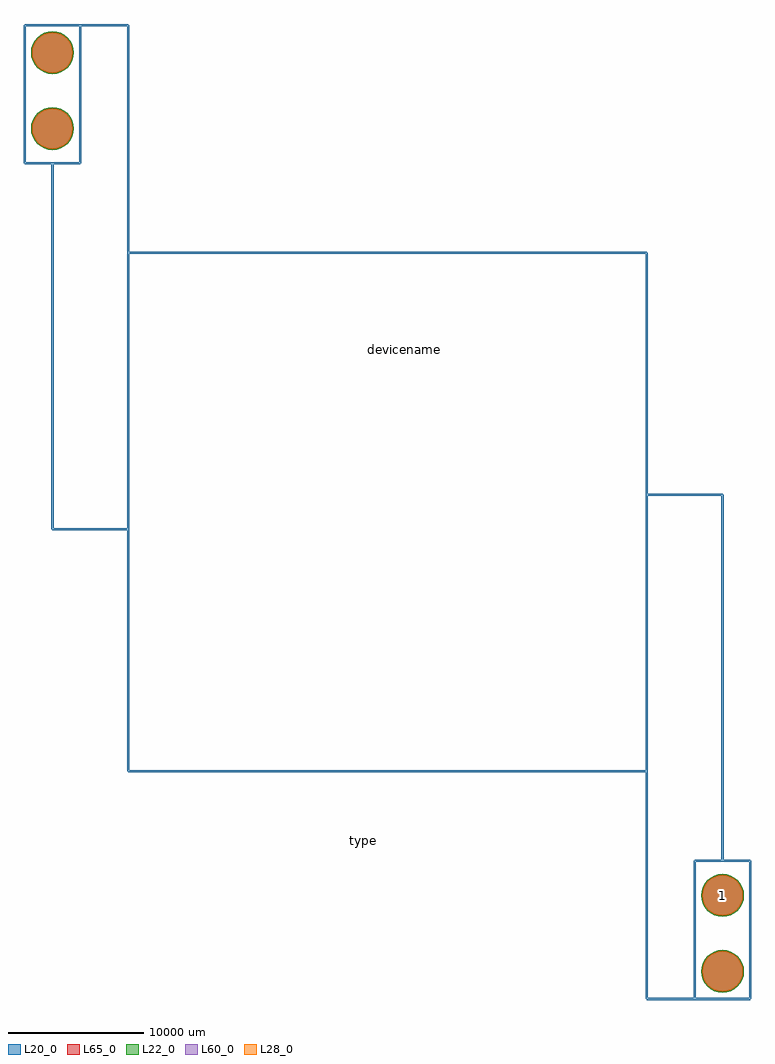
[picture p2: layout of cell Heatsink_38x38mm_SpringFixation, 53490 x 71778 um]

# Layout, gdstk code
import gdstk
lib = gdstk.Library(unit=1e-6, precision=1e-09)
def P(c, l, *ps):  # polygons
    for p in ps: c.add(gdstk.Polygon(p, *l))
L20_0 = (20, 0)
L22_0 = (22, 0)
L28_0 = (28, 0)
L60_0 = (60, 0)
L65_0 = (65, 0)

heatsink_38x38mm_springf = lib.new_cell('Heatsink_38x38mm_SpringFixation')
P(heatsink_38x38mm_springf, L22_0, [(45262.87,-14732),(45232.609,-14424.758),(45142.99,-14129.323),(44997.457,-13857.049),(44801.601,-13618.399),(44562.951,-13422.543),(44290.677,-13277.01),(43995.242,-13187.391),(43688,-13157.13),(43380.758,-13187.391),(43085.323,-13277.01),(42813.049,-13422.543),(42574.399,-13618.399),(42378.543,-13857.049),(42233.01,-14129.323),(42143.391,-14424.758),(42113.13,-14732),(42143.391,-15039.242),(42233.01,-15334.677),(42378.543,-15606.951),(42574.399,-15845.601),(42813.049,-16041.457),(43085.323,-16186.99),(43380.758,-16276.609),(43688,-16306.87),(43995.242,-16276.609),(44290.677,-16186.99),(44562.951,-16041.457),(44801.601,-15845.601),(44997.457,-15606.951),(45142.99,-15334.677),(45232.609,-15039.242)],
  [(-4013.13,52832),(-4043.391,53139.242),(-4133.01,53434.677),(-4278.543,53706.951),(-4474.399,53945.601),(-4713.049,54141.457),(-4985.323,54286.99),(-5280.758,54376.609),(-5588,54406.87),(-5895.242,54376.609),(-6190.677,54286.99),(-6462.951,54141.457),(-6701.601,53945.601),(-6897.457,53706.951),(-7042.99,53434.677),(-7132.609,53139.242),(-7162.87,52832),(-7132.609,52524.758),(-7042.99,52229.323),(-6897.457,51957.049),(-6701.601,51718.399),(-6462.951,51522.543),(-6190.677,51377.01),(-5895.242,51287.391),(-5588,51257.13),(-5280.758,51287.391),(-4985.323,51377.01),(-4713.049,51522.543),(-4474.399,51718.399),(-4278.543,51957.049),(-4133.01,52229.323),(-4043.391,52524.758)],
  [(-4013.13,47244),(-4043.391,47551.242),(-4133.01,47846.677),(-4278.543,48118.951),(-4474.399,48357.601),(-4713.049,48553.457),(-4985.323,48698.99),(-5280.758,48788.609),(-5588,48818.87),(-5895.242,48788.609),(-6190.677,48698.99),(-6462.951,48553.457),(-6701.601,48357.601),(-6897.457,48118.951),(-7042.99,47846.677),(-7132.609,47551.242),(-7162.87,47244),(-7132.609,46936.758),(-7042.99,46641.323),(-6897.457,46369.049),(-6701.601,46130.399),(-6462.951,45934.543),(-6190.677,45789.01),(-5895.242,45699.391),(-5588,45669.13),(-5280.758,45699.391),(-4985.323,45789.01),(-4713.049,45934.543),(-4474.399,46130.399),(-4278.543,46369.049),(-4133.01,46641.323),(-4043.391,46936.758)],
  [(45262.87,-9144),(45232.609,-8836.758),(45142.99,-8541.323),(44997.457,-8269.049),(44801.601,-8030.399),(44562.951,-7834.543),(44290.677,-7689.01),(43995.242,-7599.391),(43688,-7569.13),(43380.758,-7599.391),(43085.323,-7689.01),(42813.049,-7834.543),(42574.399,-8030.399),(42378.543,-8269.049),(42233.01,-8541.323),(42143.391,-8836.758),(42113.13,-9144),(42143.391,-9451.242),(42233.01,-9746.677),(42378.543,-10018.951),(42574.399,-10257.601),(42813.049,-10453.457),(43085.323,-10598.99),(43380.758,-10688.609),(43688,-10718.87),(43995.242,-10688.609),(44290.677,-10598.99),(44562.951,-10453.457),(44801.601,-10257.601),(44997.457,-10018.951),(45142.99,-9746.677),(45232.609,-9451.242)])
P(heatsink_38x38mm_springf, L28_0, [(45187.87,-14732),(45159.05,-14439.39),(45073.699,-14158.025),(44935.096,-13898.717),(44748.568,-13671.432),(44521.283,-13484.904),(44261.975,-13346.301),(43980.61,-13260.95),(43688,-13232.13),(43395.39,-13260.95),(43114.025,-13346.301),(42854.717,-13484.904),(42627.432,-13671.432),(42440.904,-13898.717),(42302.301,-14158.025),(42216.95,-14439.39),(42188.13,-14732),(42216.95,-15024.61),(42302.301,-15305.975),(42440.904,-15565.283),(42627.432,-15792.568),(42854.717,-15979.096),(43114.025,-16117.699),(43395.39,-16203.05),(43688,-16231.87),(43980.61,-16203.05),(44261.975,-16117.699),(44521.283,-15979.096),(44748.568,-15792.568),(44935.096,-15565.283),(45073.699,-15305.975),(45159.05,-15024.61)],
  [(-4088.13,52832),(-4116.95,53124.61),(-4202.301,53405.975),(-4340.904,53665.283),(-4527.432,53892.568),(-4754.717,54079.096),(-5014.025,54217.699),(-5295.39,54303.05),(-5588,54331.87),(-5880.61,54303.05),(-6161.975,54217.699),(-6421.283,54079.096),(-6648.568,53892.568),(-6835.096,53665.283),(-6973.699,53405.975),(-7059.05,53124.61),(-7087.87,52832),(-7059.05,52539.39),(-6973.699,52258.025),(-6835.096,51998.717),(-6648.568,51771.432),(-6421.283,51584.904),(-6161.975,51446.301),(-5880.61,51360.95),(-5588,51332.13),(-5295.39,51360.95),(-5014.025,51446.301),(-4754.717,51584.904),(-4527.432,51771.432),(-4340.904,51998.717),(-4202.301,52258.025),(-4116.95,52539.39)],
  [(-4088.13,47244),(-4116.95,47536.61),(-4202.301,47817.975),(-4340.904,48077.283),(-4527.432,48304.568),(-4754.717,48491.096),(-5014.025,48629.699),(-5295.39,48715.05),(-5588,48743.87),(-5880.61,48715.05),(-6161.975,48629.699),(-6421.283,48491.096),(-6648.568,48304.568),(-6835.096,48077.283),(-6973.699,47817.975),(-7059.05,47536.61),(-7087.87,47244),(-7059.05,46951.39),(-6973.699,46670.025),(-6835.096,46410.717),(-6648.568,46183.432),(-6421.283,45996.904),(-6161.975,45858.301),(-5880.61,45772.95),(-5588,45744.13),(-5295.39,45772.95),(-5014.025,45858.301),(-4754.717,45996.904),(-4527.432,46183.432),(-4340.904,46410.717),(-4202.301,46670.025),(-4116.95,46951.39)],
  [(45187.87,-9144),(45159.05,-8851.39),(45073.699,-8570.025),(44935.096,-8310.717),(44748.568,-8083.432),(44521.283,-7896.904),(44261.975,-7758.301),(43980.61,-7672.95),(43688,-7644.13),(43395.39,-7672.95),(43114.025,-7758.301),(42854.717,-7896.904),(42627.432,-8083.432),(42440.904,-8310.717),(42302.301,-8570.025),(42216.95,-8851.39),(42188.13,-9144),(42216.95,-9436.61),(42302.301,-9717.975),(42440.904,-9977.283),(42627.432,-10204.568),(42854.717,-10391.096),(43114.025,-10529.699),(43395.39,-10615.05),(43688,-10643.87),(43980.61,-10615.05),(44261.975,-10529.699),(44521.283,-10391.096),(44748.568,-10204.568),(44935.096,-9977.283),(45073.699,-9717.975),(45159.05,-9436.61)])
P(heatsink_38x38mm_springf, L60_0, [(45187.87,-14732),(45159.05,-14439.39),(45073.699,-14158.025),(44935.096,-13898.717),(44748.568,-13671.432),(44521.283,-13484.904),(44261.975,-13346.301),(43980.61,-13260.95),(43688,-13232.13),(43395.39,-13260.95),(43114.025,-13346.301),(42854.717,-13484.904),(42627.432,-13671.432),(42440.904,-13898.717),(42302.301,-14158.025),(42216.95,-14439.39),(42188.13,-14732),(42216.95,-15024.61),(42302.301,-15305.975),(42440.904,-15565.283),(42627.432,-15792.568),(42854.717,-15979.096),(43114.025,-16117.699),(43395.39,-16203.05),(43688,-16231.87),(43980.61,-16203.05),(44261.975,-16117.699),(44521.283,-15979.096),(44748.568,-15792.568),(44935.096,-15565.283),(45073.699,-15305.975),(45159.05,-15024.61)],
  [(-4088.13,52832),(-4116.95,53124.61),(-4202.301,53405.975),(-4340.904,53665.283),(-4527.432,53892.568),(-4754.717,54079.096),(-5014.025,54217.699),(-5295.39,54303.05),(-5588,54331.87),(-5880.61,54303.05),(-6161.975,54217.699),(-6421.283,54079.096),(-6648.568,53892.568),(-6835.096,53665.283),(-6973.699,53405.975),(-7059.05,53124.61),(-7087.87,52832),(-7059.05,52539.39),(-6973.699,52258.025),(-6835.096,51998.717),(-6648.568,51771.432),(-6421.283,51584.904),(-6161.975,51446.301),(-5880.61,51360.95),(-5588,51332.13),(-5295.39,51360.95),(-5014.025,51446.301),(-4754.717,51584.904),(-4527.432,51771.432),(-4340.904,51998.717),(-4202.301,52258.025),(-4116.95,52539.39)],
  [(-4088.13,47244),(-4116.95,47536.61),(-4202.301,47817.975),(-4340.904,48077.283),(-4527.432,48304.568),(-4754.717,48491.096),(-5014.025,48629.699),(-5295.39,48715.05),(-5588,48743.87),(-5880.61,48715.05),(-6161.975,48629.699),(-6421.283,48491.096),(-6648.568,48304.568),(-6835.096,48077.283),(-6973.699,47817.975),(-7059.05,47536.61),(-7087.87,47244),(-7059.05,46951.39),(-6973.699,46670.025),(-6835.096,46410.717),(-6648.568,46183.432),(-6421.283,45996.904),(-6161.975,45858.301),(-5880.61,45772.95),(-5588,45744.13),(-5295.39,45772.95),(-5014.025,45858.301),(-4754.717,45996.904),(-4527.432,46183.432),(-4340.904,46410.717),(-4202.301,46670.025),(-4116.95,46951.39)],
  [(45187.87,-9144),(45159.05,-8851.39),(45073.699,-8570.025),(44935.096,-8310.717),(44748.568,-8083.432),(44521.283,-7896.904),(44261.975,-7758.301),(43980.61,-7672.95),(43688,-7644.13),(43395.39,-7672.95),(43114.025,-7758.301),(42854.717,-7896.904),(42627.432,-8083.432),(42440.904,-8310.717),(42302.301,-8570.025),(42216.95,-8851.39),(42188.13,-9144),(42216.95,-9436.61),(42302.301,-9717.975),(42440.904,-9977.283),(42627.432,-10204.568),(42854.717,-10391.096),(43114.025,-10529.699),(43395.39,-10615.05),(43688,-10643.87),(43980.61,-10615.05),(44261.975,-10529.699),(44521.283,-10391.096),(44748.568,-10204.568),(44935.096,-9977.283),(45073.699,-9717.975),(45159.05,-9436.61)])
P(heatsink_38x38mm_springf, L65_0, [(45262.87,-14732),(45232.609,-14424.758),(45142.99,-14129.323),(44997.457,-13857.049),(44801.601,-13618.399),(44562.951,-13422.543),(44290.677,-13277.01),(43995.242,-13187.391),(43688,-13157.13),(43380.758,-13187.391),(43085.323,-13277.01),(42813.049,-13422.543),(42574.399,-13618.399),(42378.543,-13857.049),(42233.01,-14129.323),(42143.391,-14424.758),(42113.13,-14732),(42143.391,-15039.242),(42233.01,-15334.677),(42378.543,-15606.951),(42574.399,-15845.601),(42813.049,-16041.457),(43085.323,-16186.99),(43380.758,-16276.609),(43688,-16306.87),(43995.242,-16276.609),(44290.677,-16186.99),(44562.951,-16041.457),(44801.601,-15845.601),(44997.457,-15606.951),(45142.99,-15334.677),(45232.609,-15039.242)],
  [(-4013.13,52832),(-4043.391,53139.242),(-4133.01,53434.677),(-4278.543,53706.951),(-4474.399,53945.601),(-4713.049,54141.457),(-4985.323,54286.99),(-5280.758,54376.609),(-5588,54406.87),(-5895.242,54376.609),(-6190.677,54286.99),(-6462.951,54141.457),(-6701.601,53945.601),(-6897.457,53706.951),(-7042.99,53434.677),(-7132.609,53139.242),(-7162.87,52832),(-7132.609,52524.758),(-7042.99,52229.323),(-6897.457,51957.049),(-6701.601,51718.399),(-6462.951,51522.543),(-6190.677,51377.01),(-5895.242,51287.391),(-5588,51257.13),(-5280.758,51287.391),(-4985.323,51377.01),(-4713.049,51522.543),(-4474.399,51718.399),(-4278.543,51957.049),(-4133.01,52229.323),(-4043.391,52524.758)],
  [(-4013.13,47244),(-4043.391,47551.242),(-4133.01,47846.677),(-4278.543,48118.951),(-4474.399,48357.601),(-4713.049,48553.457),(-4985.323,48698.99),(-5280.758,48788.609),(-5588,48818.87),(-5895.242,48788.609),(-6190.677,48698.99),(-6462.951,48553.457),(-6701.601,48357.601),(-6897.457,48118.951),(-7042.99,47846.677),(-7132.609,47551.242),(-7162.87,47244),(-7132.609,46936.758),(-7042.99,46641.323),(-6897.457,46369.049),(-6701.601,46130.399),(-6462.951,45934.543),(-6190.677,45789.01),(-5895.242,45699.391),(-5588,45669.13),(-5280.758,45699.391),(-4985.323,45789.01),(-4713.049,45934.543),(-4474.399,46130.399),(-4278.543,46369.049),(-4133.01,46641.323),(-4043.391,46936.758)],
  [(45262.87,-9144),(45232.609,-8836.758),(45142.99,-8541.323),(44997.457,-8269.049),(44801.601,-8030.399),(44562.951,-7834.543),(44290.677,-7689.01),(43995.242,-7599.391),(43688,-7569.13),(43380.758,-7599.391),(43085.323,-7689.01),(42813.049,-7834.543),(42574.399,-8030.399),(42378.543,-8269.049),(42233.01,-8541.323),(42143.391,-8836.758),(42113.13,-9144),(42143.391,-9451.242),(42233.01,-9746.677),(42378.543,-10018.951),(42574.399,-10257.601),(42813.049,-10453.457),(43085.323,-10598.99),(43380.758,-10688.609),(43688,-10718.87),(43995.242,-10688.609),(44290.677,-10598.99),(44562.951,-10453.457),(44801.601,-10257.601),(44997.457,-10018.951),(45142.99,-9746.677),(45232.609,-9451.242)])
heatsink_38x38mm_springf.add(gdstk.FlexPath([(0,38100),(0,0)], 149.998, ends="flush", simple_path=True, layer=20, datatype=0))  # L20_0
heatsink_38x38mm_springf.add(gdstk.FlexPath([(38100,38100),(0,38100)], 149.998, ends="flush", simple_path=True, layer=20, datatype=0))  # L20_0
heatsink_38x38mm_springf.add(gdstk.FlexPath([(38100,0),(38100,38100)], 149.998, ends="flush", simple_path=True, layer=20, datatype=0))  # L20_0
heatsink_38x38mm_springf.add(gdstk.FlexPath([(0,0),(38100,0)], 149.998, ends="flush", simple_path=True, layer=20, datatype=0))  # L20_0
heatsink_38x38mm_springf.add(gdstk.FlexPath([(45720,-6604),(41656,-6604)], 149.998, ends="flush", simple_path=True, layer=20, datatype=0))  # L20_0
heatsink_38x38mm_springf.add(gdstk.FlexPath([(45720,-16764),(41656,-16764)], 149.998, ends="flush", simple_path=True, layer=20, datatype=0))  # L20_0
heatsink_38x38mm_springf.add(gdstk.FlexPath([(45720,-6604),(45720,-16764)], 149.998, ends="flush", simple_path=True, layer=20, datatype=0))  # L20_0
heatsink_38x38mm_springf.add(gdstk.FlexPath([(41656,-6604),(41656,-16764)], 149.998, ends="flush", simple_path=True, layer=20, datatype=0))  # L20_0
heatsink_38x38mm_springf.add(gdstk.FlexPath([(-7620,54864),(-7620,44704)], 149.998, ends="flush", simple_path=True, layer=20, datatype=0))  # L20_0
heatsink_38x38mm_springf.add(gdstk.FlexPath([(-3556,54864),(-7620,54864)], 149.998, ends="flush", simple_path=True, layer=20, datatype=0))  # L20_0
heatsink_38x38mm_springf.add(gdstk.FlexPath([(-3556,44704),(-3556,54864)], 149.998, ends="flush", simple_path=True, layer=20, datatype=0))  # L20_0
heatsink_38x38mm_springf.add(gdstk.FlexPath([(-7620,44704),(-3556,44704)], 149.998, ends="flush", simple_path=True, layer=20, datatype=0))  # L20_0
heatsink_38x38mm_springf.add(gdstk.FlexPath([(0,54864),(0,38100)], 149.998, ends="flush", simple_path=True, layer=20, datatype=0))  # L20_0
heatsink_38x38mm_springf.add(gdstk.FlexPath([(-3556,54864),(0,54864)], 149.998, ends="flush", simple_path=True, layer=20, datatype=0))  # L20_0
heatsink_38x38mm_springf.add(gdstk.FlexPath([(-5588,17780),(-5588,44704)], 149.998, ends="flush", simple_path=True, layer=20, datatype=0))  # L20_0
heatsink_38x38mm_springf.add(gdstk.FlexPath([(0,17780),(-5588,17780)], 149.998, ends="flush", simple_path=True, layer=20, datatype=0))  # L20_0
heatsink_38x38mm_springf.add(gdstk.FlexPath([(38100,-16764),(38100,0)], 149.998, ends="flush", simple_path=True, layer=20, datatype=0))  # L20_0
heatsink_38x38mm_springf.add(gdstk.FlexPath([(41656,-16764),(38100,-16764)], 149.998, ends="flush", simple_path=True, layer=20, datatype=0))  # L20_0
heatsink_38x38mm_springf.add(gdstk.FlexPath([(43688,20320),(43688,-6604)], 149.998, ends="flush", simple_path=True, layer=20, datatype=0))  # L20_0
heatsink_38x38mm_springf.add(gdstk.FlexPath([(38100,20320),(43688,20320)], 149.998, ends="flush", simple_path=True, layer=20, datatype=0))  # L20_0
heatsink_38x38mm_springf.add(gdstk.Label('1', (43688,-9144), layer=28, texttype=0))
heatsink_38x38mm_springf.add(gdstk.Label('type', (17272,-5080), layer=9, texttype=0))
heatsink_38x38mm_springf.add(gdstk.Label('devicename', (20320,30988), layer=9, texttype=0))

lib.write_gds('Heatsink_38x38mm_SpringFixation.gds')
